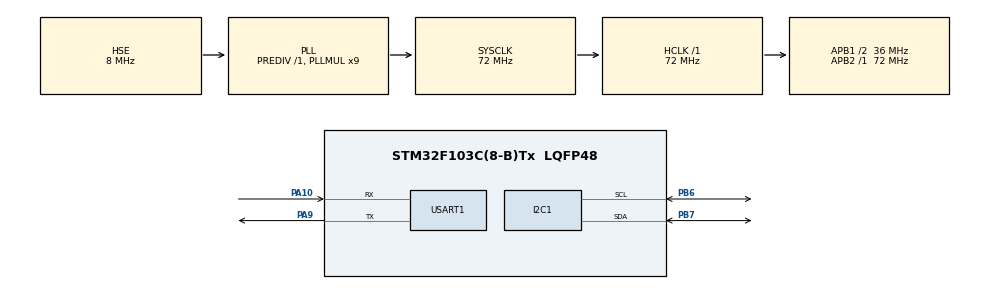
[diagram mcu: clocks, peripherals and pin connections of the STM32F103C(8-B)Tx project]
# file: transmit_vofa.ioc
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I2C1.I2C_Mode=I2C_Standard
Mcu.Family=STM32F1
Mcu.Name=STM32F103C(8-B)Tx
Mcu.Package=LQFP48
NVIC.PriorityGroup=NVIC_PRIORITYGROUP_4
NVIC.USART1_IRQn=true\:0\:0\:false\:false\:true\:true\:true\:true
PA10.Mode=Asynchronous
PA10.Signal=USART1_RX
PA13.Mode=Serial_Wire
PA13.Signal=SYS_JTMS-SWDIO
PA14.Mode=Serial_Wire
PA14.Signal=SYS_JTCK-SWCLK
PA9.Mode=Asynchronous
PA9.Signal=USART1_TX
PB6.Mode=I2C
PB6.Signal=I2C1_SCL
PB7.Mode=I2C
PB7.Signal=I2C1_SDA
PD0-OSC_IN.Mode=HSE-External-Oscillator
PD0-OSC_IN.Signal=RCC_OSC_IN
PD1-OSC_OUT.Mode=HSE-External-Oscillator
PD1-OSC_OUT.Signal=RCC_OSC_OUT
ProjectManager.HeapSize=0x200
ProjectManager.StackSize=0x400
ProjectManager.TargetToolchain=Makefile
RCC.AHBFreq_Value=72000000
RCC.APB1CLKDivider=RCC_HCLK_DIV2
RCC.APB1Freq_Value=36000000
RCC.APB1TimFreq_Value=72000000
RCC.APB2Freq_Value=72000000
RCC.APB2TimFreq_Value=72000000
RCC.HCLKFreq_Value=72000000
RCC.PLLMUL=RCC_PLL_MUL9
RCC.PLLSourceVirtual=RCC_PLLSOURCE_HSE
RCC.SYSCLKFreq_VALUE=72000000
RCC.SYSCLKSource=RCC_SYSCLKSOURCE_PLLCLK
RCC.USBFreq_Value=72000000
USART1.VirtualMode=VM_ASYNC
board=custom

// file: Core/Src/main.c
/* USER CODE BEGIN Header */
/**
  ******************************************************************************
  * @file           : main.c
  * @brief          : Main program body
  ******************************************************************************
  * @attention
  *
  * Copyright (c) 2026 STMicroelectronics.
  * All rights reserved.
  *
  * This software is licensed under terms that can be found in the LICENSE file
  * in the root directory of this software component.
  * If no LICENSE file comes with this software, it is provided AS-IS.
  *
  ******************************************************************************
  */
/* USER CODE END Header */
#include "main.h"
#include "i2c.h"
#include "usart.h"
#include "gpio.h"

/* USER CODE BEGIN Includes */
#include "OLED.h"
#include <math.h>
/* USER CODE END Includes */

/* USER CODE BEGIN PV */

typedef enum
{
    WAVE_SINE = 1,
    WAVE_SAWTOOTH,
    WAVE_SQUARE
} WaveType_t;

static volatile uint8_t rx_byte;
static volatile uint8_t pending_command = 0;

static WaveType_t current_wave = WAVE_SINE;
static float wave_phase = 0.0f;
static uint32_t last_update_time = 0;

/* USER CODE END PV */

void SystemClock_Config(void);

/* USER CODE BEGIN 0 */

static float Wave_GetPeriod(void)
{
    switch (current_wave)
    {
        case WAVE_SINE:
            return 1.0f;

        case WAVE_SAWTOOTH:
            return 0.5f;

        case WAVE_SQUARE:
            return 1.5f;

        default:
            return 1.0f;
    }
}

static float Wave_GetValue(void)
{
    switch (current_wave)
    {
        case WAVE_SINE:
            /* 正弦波：-2 ~ 2，周期 1 s */
            return 2.0f * sinf(6.2831853f * wave_phase);

        case WAVE_SAWTOOTH:
            /* 锯齿波：-1 ~ 1，周期 0.5 s */
            return -1.0f + 2.0f * wave_phase;

        case WAVE_SQUARE:
            /* 方波：-0.5 ~ 0.5，占空比 50% */
            if (wave_phase < 0.5f)
            {
                return 0.5f;
            }
            else
            {
                return -0.5f;
            }

        default:
            return 0.0f;
    }
}

static void OLED_ShowWaveName(void)
{
    OLED_operate_gram(PEN_CLEAR);

    switch (current_wave)
    {
        case WAVE_SINE:
            OLED_printf(0, 0, "Sine");
            OLED_printf(2, 0, "T: 1.0 s");
            OLED_printf(4, 0, "A: 2.0");
            break;

        case WAVE_SAWTOOTH:
            OLED_printf(0, 0, "Sawtooth");
            OLED_printf(2, 0, "T: 0.5 s");
            OLED_printf(4, 0, "A: 1.0");
            break;

        case WAVE_SQUARE:
            OLED_printf(0, 0, "Square");
            OLED_printf(2, 0, "T: 1.5 s");
            OLED_printf(4, 0, "A: 0.5");
            break;

        default:
            break;
    }

    OLED_refresh_gram();
}

static void VOFA_SendFloat(float value)
{
    union
    {
        float value;
        uint8_t byte[4];
    } data;

    uint8_t packet[8];

    data.value = value;

    packet[0] = data.byte[0];
    packet[1] = data.byte[1];
    packet[2] = data.byte[2];
    packet[3] = data.byte[3];

    /* JustFloat 帧尾 */
    packet[4] = 0x00;
    packet[5] = 0x00;
    packet[6] = 0x80;
    packet[7] = 0x7F;

    HAL_UART_Transmit(&huart1, packet, 8, 20);
}

static void Process_Command(void)
{
    uint8_t command;

    if (pending_command == 0)
    {
        return;
    }

    command = pending_command;
    pending_command = 0;

    if (command == '1')
    {
        current_wave = WAVE_SINE;
    }
    else if (command == '2')
    {
        current_wave = WAVE_SAWTOOTH;
    }
    else if (command == '3')
    {
        current_wave = WAVE_SQUARE;
    }
    else
    {
        return;
    }

    /* 切换波形后从周期起点开始 */
    wave_phase = 0.0f;

    OLED_ShowWaveName();//刷新oled显示
}

/* USER CODE END 0 */
int main(void)
{

  /* MCU Configuration--------------------------------------------------------*/

  /* Reset of all peripherals, Initializes the Flash interface and the Systick. */
  HAL_Init();

  /* Configure the system clock */
  SystemClock_Config();

  /* Initialize all configured peripherals */
  MX_GPIO_Init();
  MX_I2C1_Init();
  MX_USART1_UART_Init();
 /* USER CODE BEGIN 2 */

OLED_init();

/* 上电默认显示正弦波 */
OLED_ShowWaveName();

/* 开启 USART1 单字节中断接收 */
HAL_UART_Receive_IT(&huart1,(uint8_t *)&rx_byte,1);

last_update_time = HAL_GetTick();//上次更新时间

/* USER CODE END 2 */
  /* Infinite loop */
  /* USER CODE BEGIN WHILE */

while (1)
{
    uint32_t now;
    float value;
    float period;

    /* 处理串口指令 */
    Process_Command();

    now = HAL_GetTick();

    /* 每 10 ms 生成并发送一个数据点 */
    if ((now - last_update_time) >= 10U)
    {
        last_update_time += 10U;

        value = Wave_GetValue();

        /* 发送给 VOFA+ */
        VOFA_SendFloat(value);

        /*
         * 相位增量：
         * 10 ms / 波形周期
         */
        period = Wave_GetPeriod();
        wave_phase += 0.010f / period;

        if (wave_phase >= 1.0f)
        {
            wave_phase -= 1.0f;
        }
    }
}
/* USER CODE END WHILE */
  /* USER CODE END 3 */
}

void SystemClock_Config(void)
{
  RCC_OscInitTypeDef RCC_OscInitStruct = {0};
  RCC_ClkInitTypeDef RCC_ClkInitStruct = {0};

  /** Initializes the RCC Oscillators according to the specified parameters
  * in the RCC_OscInitTypeDef structure.
  */
  RCC_OscInitStruct.OscillatorType = RCC_OSCILLATORTYPE_HSE;
  RCC_OscInitStruct.HSEState = RCC_HSE_ON;
  RCC_OscInitStruct.HSEPredivValue = RCC_HSE_PREDIV_DIV1;
  RCC_OscInitStruct.HSIState = RCC_HSI_ON;
  RCC_OscInitStruct.PLL.PLLState = RCC_PLL_ON;
  RCC_OscInitStruct.PLL.PLLSource = RCC_PLLSOURCE_HSE;
  RCC_OscInitStruct.PLL.PLLMUL = RCC_PLL_MUL9;
  if (HAL_RCC_OscConfig(&RCC_OscInitStruct) != HAL_OK)
  {
    Error_Handler();
  }

  /** Initializes the CPU, AHB and APB buses clocks
  */
  RCC_ClkInitStruct.ClockType = RCC_CLOCKTYPE_HCLK|RCC_CLOCKTYPE_SYSCLK
                              |RCC_CLOCKTYPE_PCLK1|RCC_CLOCKTYPE_PCLK2;
  RCC_ClkInitStruct.SYSCLKSource = RCC_SYSCLKSOURCE_PLLCLK;
  RCC_ClkInitStruct.AHBCLKDivider = RCC_SYSCLK_DIV1;
  RCC_ClkInitStruct.APB1CLKDivider = RCC_HCLK_DIV2;
  RCC_ClkInitStruct.APB2CLKDivider = RCC_HCLK_DIV1;

  if (HAL_RCC_ClockConfig(&RCC_ClkInitStruct, FLASH_LATENCY_2) != HAL_OK)
  {
    Error_Handler();
  }
}

/* USER CODE BEGIN 4 */

void HAL_UART_RxCpltCallback(UART_HandleTypeDef *huart)
{
    if (huart->Instance == USART1)
    {
        /*
         * 保存有效指令。
         * 回车和换行会被直接忽略。
         */
        if ((rx_byte == '1') ||
            (rx_byte == '2') ||
            (rx_byte == '3'))
        {
            pending_command = rx_byte;
        }

        /* 继续接收下一个字节 */
        HAL_UART_Receive_IT(&huart1,(uint8_t *)&rx_byte,1);
    }
}

/* USER CODE END 4 */

void Error_Handler(void)
{
  __disable_irq();
  while (1)
  {
  }
}
